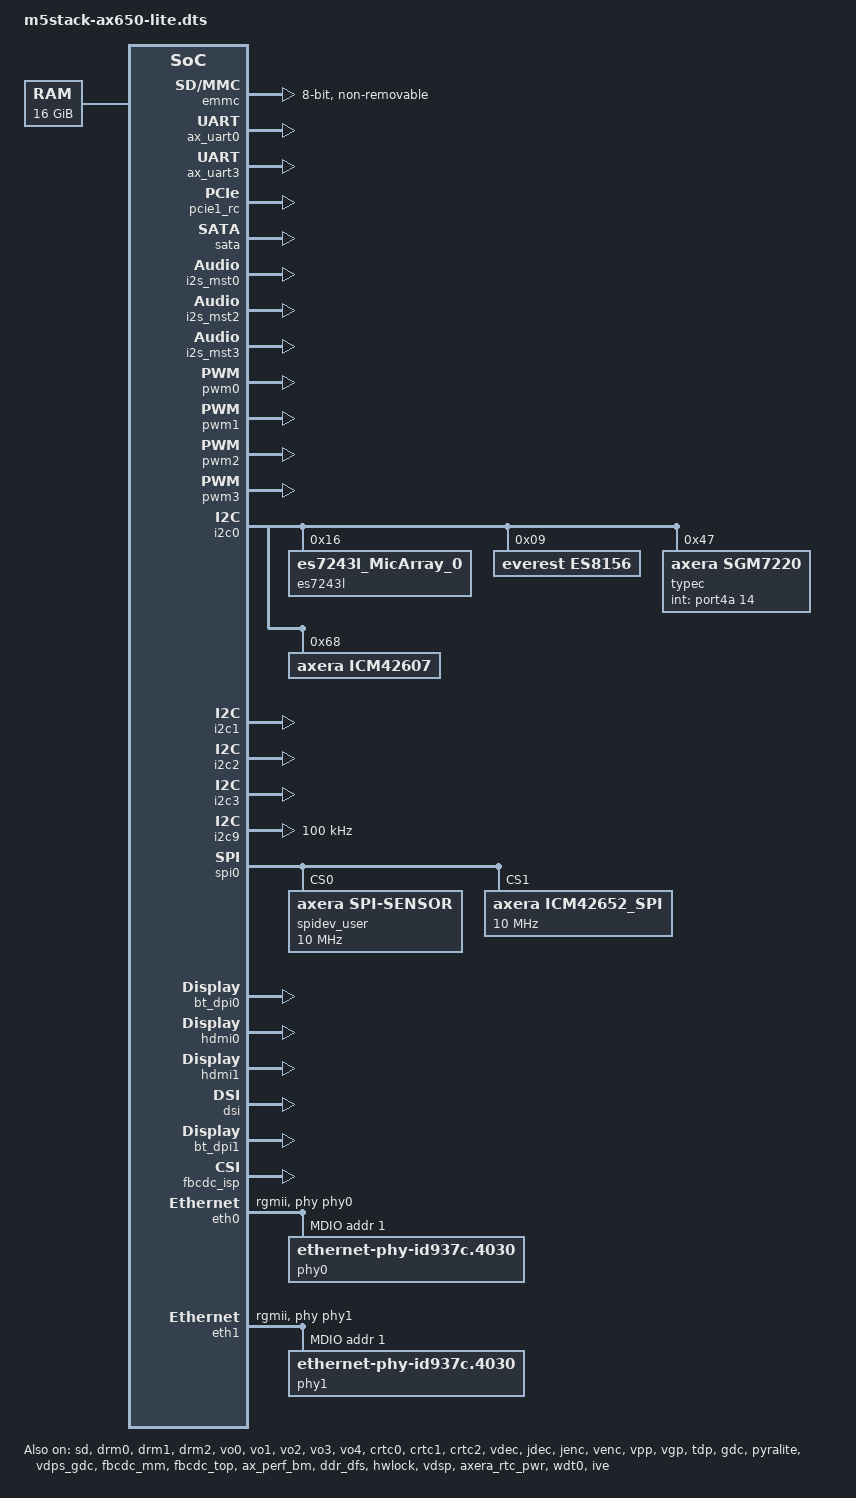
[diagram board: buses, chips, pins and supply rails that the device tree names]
// SPDX-License-Identifier: GPL-2.0
/*
 * dts file for Axera EVB Development Board
 *
 * Copyright (C) 2020, Axera Ltd.
 *
 */

/dts-v1/;
#include "AX650.dtsi"
#include "AX650_pinctrl.dtsi"
#include <dt-bindings/phy/jlsemi-dt-phy.h>
/ {
	memory@100000000 {
		device_type = "memory";
		reg = <0x1 0x00000000 0x4 0x00000000>;
	};
	reserved-memory {
		#address-cells = <2>;
		#size-cells = <2>;
		ranges;
		linux,cma {
			compatible = "shared-dma-pool";
			reusable;
			size = <0x00000000 0x8000000>;
			linux,cma-default;
		};
		axera_memory_dump@0 {
			compatible = "axera_memory_dump";
			reg = <0x1 0x050f0000 0x0 0x3000>;
			fix_addr = <0x7C8D6E02>;
		};
		ramoops_mem@106000000 {
			compatible = "ramoops";
			reg = <0x1 0x06000000 0x0 0xf0000>;
			record-size = <0x40000>;
			console-size = <0x80000>;
			ftrace-size = <0x20000>;
		};
#ifdef OPTEE_BOOT
		optee_reserved: optee_memserved {
			reg = <OPTEE_RESERVED_START_HI OPTEE_RESERVED_START_LO OPTEE_RESERVED_SIZE_HI OPTEE_RESERVED_SIZE_LO>;
			no-map;
		};
#endif
		e907_dram: riscv_memserved {
			reg = <0x01 0x36000000 0x0 0x400000>;
			no-map;
		};
		riscv_log_mem: riscv_log_memserved {
			reg = <0x01 0x36400000 0x0 0x1000>;
			no-map;
		};
		vdsp0_reserved: vdsp0_reserved@13E000000 {
			no-map;
			reg = <0x1 0x3E000000 0x0 0x1000000>;
		};
		vdsp1_reserved: vdsp1_reserved@13F000000 {
			no-map;
			reg = <0x1 0x3F000000 0x0 0x1000000>;
		};
	};

	chosen {
		bootargs = "Please DO NOT config this parameter. Please DO NOT config this parameter. Please DO NOT config this parameter. Please DO NOT config this parameter. Please DO NOT config this parameter. Please DO NOT config this parameter. Please DO NOT config this parameter. Please DO NOT config this parameter. Please config BOOTARGS_EMMC/BOOTARGS_SPINOR/BOOTARGS_SPI in u-boot-2020.04/include/configs/ax650_common.h";
	};

	usb30: dwc3@0x30c00000 {
		compatible = "snps,dwc3";
		status = "okay";
	};

	usb31: dwc3@0x30d00000 {
		compatible = "snps,dwc3";
		status = "okay";
	};

	usb32: dwc3@0x28100000 {
		compatible = "snps,dwc3";
		status = "okay";
	};

	aliases {
		usb0 = &usb30;
		usb1 = &usb31;
		usb2 = &usb32;
	};

	fbcdc_config_val: fbcdc_config_val@0 {
		regs-num = <0x62>;
		regs-val = <0x00000020 0x00000001>,
			   <0x00000024 0x00000001>,
			   <0x00000000 0x00000000>,
			   <0x00000014 0x00000000>,
			   <0x00000048 0x0000001c>,
			   <0x0000024c 0x00000010>,
			   <0x0000004c 0x8000006b>,
			   <0x00000054 0x8000006b>,
			   <0x0000005c 0xc7b8a46b>,
			   <0x00000064 0xc7b8a46b>,
			   <0x0000006c 0x70000004>,
			   <0x00000074 0xc5040f71>,
			   <0x0000007c 0xc7148d60>,
			   <0x00000084 0x60000000>,
			   <0x0000008c 0x20000000>,
			   <0x00000094 0x50000000>,
			   <0x0000009c 0xc5a8207b>,
			   <0x000000a4 0x40000000>,
			   <0x000000ac 0xc7b8a46b>,
			   <0x000000b4 0x70000004>,
			   <0x000000bc 0xb0148d60>,
			   <0x000000c4 0x9000124a>,
			   <0x000000cc 0xb0148d60>,
			   <0x000000d4 0x9000124a>,
			   <0x000000dc 0xb0148d60>,
			   <0x000000e4 0x9000124a>,
			   <0x000000ec 0xb0148d60>,
			   <0x000000f4 0x9000124a>,
			   <0x000000fc 0xb0148d60>,
			   <0x00000104 0x9000124a>,
			   <0x0000010c 0xb0148d60>,
			   <0x00000114 0x9000124a>,
			   <0x0000011c 0xb0148d60>,
			   <0x00000124 0x9000124a>,
			   <0x0000012c 0x10000000>,
			   <0x00000050 0x0625a820>,
			   <0x00000058 0x0625a820>,
			   <0x00000060 0x0625a820>,
			   <0x00000068 0x0625a820>,
			   <0x00000070 0x0e65a820>,
			   <0x00000078 0x48d60c51>,
			   <0x00000080 0xc5181ccb>,
			   <0x00000088 0x10b5040f>,
			   <0x00000090 0x00000249>,
			   <0x00000098 0x01181cd3>,
			   <0x000000a0 0x8a46b062>,
			   <0x000000a8 0x0009c928>,
			   <0x000000b0 0x0628c0e6>,
			   <0x000000b8 0x9285a820>,
			   <0x000000c0 0xc5181cd3>,
			   <0x000000c8 0x16a081ee>,
			   <0x000000d0 0xc5181cd3>,
			   <0x000000d8 0x16a081ee>,
			   <0x000000e0 0xc5181cd3>,
			   <0x000000e8 0x16a081ee>,
			   <0x000000f0 0xc5181cd3>,
			   <0x000000f8 0x16a081ee>,
			   <0x00000100 0xc5181cd3>,
			   <0x00000108 0x16a081ee>,
			   <0x00000110 0xc5181cd3>,
			   <0x00000118 0x16a081ee>,
			   <0x00000120 0xc5181cd3>,
			   <0x00000128 0x16a081ee>,
			   <0x00000130 0x00000013>,
			   <0x00000250 0x40000000>,
			   <0x00000258 0x40000000>,
			   <0x00000260 0x60000000>,
			   <0x00000268 0x60000000>,
			   <0x00000270 0x80000029>,
			   <0x00000278 0x80000029>,
			   <0x00000280 0x30000000>,
			   <0x00000288 0x90000101>,
			   <0x00000290 0xa0002029>,
			   <0x00000298 0xa0002029>,
			   <0x000002a0 0xa0002029>,
			   <0x000002a8 0xa0002029>,
			   <0x000002b0 0xa0002029>,
			   <0x000002b8 0xa0002029>,
			   <0x000002c0 0xa0002029>,
			   <0x000002c8 0xa0002029>,
			   <0x000002d0 0x20000000>,
			   <0x00000254 0x00018820>,
			   <0x0000025c 0x00018820>,
			   <0x00000264 0x0a418820>,
			   <0x0000026c 0x0a418820>,
			   <0x00000274 0x06239820>,
			   <0x0000027c 0x06239820>,
			   <0x00000284 0x00002020>,
			   <0x0000028c 0x48311cc9>,
			   <0x00000294 0x06239928>,
			   <0x0000029c 0x06239928>,
			   <0x000002a4 0x06239928>,
			   <0x000002ac 0x06239928>,
			   <0x000002b4 0x06239928>,
			   <0x000002bc 0x06239928>,
			   <0x000002c4 0x06239928>,
			   <0x000002cc 0x06239928>,
			   <0x000002d4 0x00000128>;
	};

	fbcdc_config_val_top: fbcdc_config_val_top@0 {
		regs-num = <0x62>;
		regs-val = <0x00000020 0x00000001>,
			   <0x00000024 0x00000001>,
			   <0x00000000 0x00000001>, /* reverse fbc bypass enable signal of top module */
			   <0x00000014 0x00000001>, /* reverse fbdc bypass enable signal of top module */
			   <0x00000048 0x0000001c>,
			   <0x0000024c 0x00000010>,
			   <0x0000004c 0x8000006b>,
			   <0x00000054 0x8000006b>,
			   <0x0000005c 0xc7b8a46b>,
			   <0x00000064 0xc7b8a46b>,
			   <0x0000006c 0x70000004>,
			   <0x00000074 0xc5040f71>,
			   <0x0000007c 0xc7148d60>,
			   <0x00000084 0x60000000>,
			   <0x0000008c 0x20000000>,
			   <0x00000094 0x50000000>,
			   <0x0000009c 0xc5a8207b>,
			   <0x000000a4 0x40000000>,
			   <0x000000ac 0xc7b8a46b>,
			   <0x000000b4 0x70000004>,
			   <0x000000bc 0xb0148d60>,
			   <0x000000c4 0x9000124a>,
			   <0x000000cc 0xb0148d60>,
			   <0x000000d4 0x9000124a>,
			   <0x000000dc 0xb0148d60>,
			   <0x000000e4 0x9000124a>,
			   <0x000000ec 0xb0148d60>,
			   <0x000000f4 0x9000124a>,
			   <0x000000fc 0xb0148d60>,
			   <0x00000104 0x9000124a>,
			   <0x0000010c 0xb0148d60>,
			   <0x00000114 0x9000124a>,
			   <0x0000011c 0xb0148d60>,
			   <0x00000124 0x9000124a>,
			   <0x0000012c 0x10000000>,
			   <0x00000050 0x0625a820>,
			   <0x00000058 0x0625a820>,
			   <0x00000060 0x0625a820>,
			   <0x00000068 0x0625a820>,
			   <0x00000070 0x0e65a820>,
			   <0x00000078 0x48d60c51>,
			   <0x00000080 0xc5181ccb>,
			   <0x00000088 0x10b5040f>,
			   <0x00000090 0x00000249>,
			   <0x00000098 0x01181cd3>,
			   <0x000000a0 0x8a46b062>,
			   <0x000000a8 0x0009c928>,
			   <0x000000b0 0x0628c0e6>,
			   <0x000000b8 0x9285a820>,
			   <0x000000c0 0xc5181cd3>,
			   <0x000000c8 0x16a081ee>,
			   <0x000000d0 0xc5181cd3>,
			   <0x000000d8 0x16a081ee>,
			   <0x000000e0 0xc5181cd3>,
			   <0x000000e8 0x16a081ee>,
			   <0x000000f0 0xc5181cd3>,
			   <0x000000f8 0x16a081ee>,
			   <0x00000100 0xc5181cd3>,
			   <0x00000108 0x16a081ee>,
			   <0x00000110 0xc5181cd3>,
			   <0x00000118 0x16a081ee>,
			   <0x00000120 0xc5181cd3>,
			   <0x00000128 0x16a081ee>,
			   <0x00000130 0x00000013>,
			   <0x00000250 0x40000000>,
			   <0x00000258 0x40000000>,
			   <0x00000260 0x60000000>,
			   <0x00000268 0x60000000>,
			   <0x00000270 0x80000029>,
			   <0x00000278 0x80000029>,
			   <0x00000280 0x30000000>,
			   <0x00000288 0x90000101>,
			   <0x00000290 0xa0002029>,
			   <0x00000298 0xa0002029>,
			   <0x000002a0 0xa0002029>,
			   <0x000002a8 0xa0002029>,
			   <0x000002b0 0xa0002029>,
			   <0x000002b8 0xa0002029>,
			   <0x000002c0 0xa0002029>,
			   <0x000002c8 0xa0002029>,
			   <0x000002d0 0x20000000>,
			   <0x00000254 0x00018820>,
			   <0x0000025c 0x00018820>,
			   <0x00000264 0x0a418820>,
			   <0x0000026c 0x0a418820>,
			   <0x00000274 0x06239820>,
			   <0x0000027c 0x06239820>,
			   <0x00000284 0x00002020>,
			   <0x0000028c 0x48311cc9>,
			   <0x00000294 0x06239928>,
			   <0x0000029c 0x06239928>,
			   <0x000002a4 0x06239928>,
			   <0x000002ac 0x06239928>,
			   <0x000002b4 0x06239928>,
			   <0x000002bc 0x06239928>,
			   <0x000002c4 0x06239928>,
			   <0x000002cc 0x06239928>,
			   <0x000002d4 0x00000128>;
	};

	aliases {
		pcie0 = &pcie0_ep;
		pcie1 = &pcie1_rc;

		ethernet0 = &eth0;
		ethernet1 = &eth1;
	};

	sound {
		status = "okay";
		compatible = "simple-audio-card";
		simple-audio-card,name = "Axera Audio";
		simple-audio-card,widgets =
			"Microphone", "Mic Jack",
			"Headphone", "Headphone Jack";
		simple-audio-card,routing =
			"Headphone Jack", "LOUT",
			"Headphone Jack", "ROUT",
			"INPUT", "Mic Jack";
		#address-cells = <1>;
		#size-cells = <0>;
		simple-audio-card,dai-link@0 {
			format = "i2s";
			cpu {
				sound-dai = <&i2s_mst2>;
			};
			codec {
				sound-dai = <&hdmi0>;
			};
		};
		simple-audio-card,dai-link@1 {
			format = "i2s";
			cpu {
				sound-dai = <&i2s_mst3>;
			};
			codec {
				sound-dai = <&hdmi1>;
			};
		};
		simple-audio-card,dai-link@2 {
			format = "i2s";
			cpu {
				sound-dai = <&i2s_mst0>;
			};
			codec {
				sound-dai = <&es7243l>;
				system-clock-frequency = <12288000>;
			};
		};
		simple-audio-card,dai-link@3 {
			format = "i2s";
			cpu {
				sound-dai = <&i2s_mst0>;
			};
			codec {
				sound-dai = <&es8156>;
				system-clock-frequency = <12288000>;
			};
		};
	};

	vfb0: vfb@0 {
		compatible = "axera,vfb";
		id = <0>;
		width = <4096>;
		height = <2160>;
		bpp = <32>;
		buf-num = <2>;
		status = "okay";
	};

	vfb1: vfb@1 {
		compatible = "axera,vfb";
		id = <1>;
		width = <1920>;
		height = <1080>;
		bpp = <32>;
		buf-num = <2>;
		status = "okay";
	};

	vfb2: vfb@2 {
		compatible = "axera,vfb";
		id = <2>;
		width = <4096>;
		height = <2160>;
		bpp = <32>;
		buf-num = <2>;
		status = "okay";
	};

	vfb3: vfb@3 {
		compatible = "axera,vfb";
		id = <3>;
		width = <64>;
		height = <64>;
		bpp = <32>;
		buf-num = <1>;
		cursor;
		status = "okay";
	};

	vfb4: vfb@4 {
		compatible = "axera,vfb";
		id = <4>;
		width = <1920>;
		height = <1080>;
		bpp = <32>;
		buf-num = <2>;
		status = "okay";
	};

	vfb5: vfb@5 {
		compatible = "axera,vfb";
		id = <5>;
		width = <4096>;
		height = <2160>;
		bpp = <32>;
		buf-num = <2>;
		status = "okay";
	};

	vfb6: vfb@6 {
		compatible = "axera,vfb";
		id = <6>;
		width = <1920>;
		height = <1080>;
		bpp = <32>;
		buf-num = <2>;
		status = "okay";
	};

	vfb7: vfb@7 {
		compatible = "axera,vfb";
		id = <7>;
		width = <64>;
		height = <64>;
		bpp = <32>;
		buf-num = <1>;
		cursor;
		status = "okay";
	};

	axera_logctl {
		compatible = "axera,logctl";
		config = "/etc/ax_syslog.conf";
		logstate = /bits/ 8 <1 1>;
		loglevel = /bits/ 8 <4 4>;
	};
};

&emmc {
	sdhci-caps-mask = <0x2 0x03200000>;
	//sdhci-caps = <0x01000000>;//SDHCI_CAN_VDD_330
	bus-width = <8>;
	max-frequency = <200000000>;
	cap-mmc-hw-reset;
	cap-mmc-highspeed;
	mmc-hs200-1_8v;
	mmc-hs400-1_8v;
	mmc-hs400-enhanced-strobe;
	no-sdio;
	no-sd;
	non-removable;
	disable-wp;
	axera,phy-cnfg = <0x00CC0000>;
	axera,phy-cmdpad-cnfg = <0x0449>;
	axera,phy-datapad-cnfg = <0x0449>;
	axera,phy-clkpad-cnfg = <0x0440>;
	axera,phy-stbpad-cnfg = <0x0451>;
	axera,phy-rstnpad-cnfg = <0x0449>;
	axera,phy-commdl-cnfg = <0x0>;
	axera,phy-sdclkdl-cnfg = <0x1>;
	axera,phy-sdclkdl-dc = <0x7F>;
	axera,phy-smpldl-cnfg = <0xC>;
	axera,phy-atdl-cnfg = <0xC>;
	status = "okay";
};

&sd {
	sdhci-caps-mask = <0x7 0x00200000>;
	bus-width = <4>;
	max-frequency = <200000000>;
	cap-sd-highspeed;
	sd-uhs-sdr12;
	sd-uhs-sdr25;
	sd-uhs-sdr50;
	sd-uhs-ddr50;
	sd-uhs-sdr104;
	no-sdio;
	no-mmc;
	disable-wp;
	axera,swt1v8-drv-str = <0xCC>;
	axera,phy-cnfg = <0x00CD0000>;
	axera,phy-cmdpad-cnfg = <0x044A>;
	axera,phy-datapad-cnfg = <0x044A>;
	axera,phy-clkpad-cnfg = <0x0440>;
	axera,phy-stbpad-cnfg = <0x0452>;
	axera,phy-rstnpad-cnfg = <0x0440>;
	axera,phy-commdl-cnfg = <0x0>;
	axera,phy-sdclkdl-cnfg = <0x1>;
	axera,phy-sdclkdl-dc = <0x7F>;
	axera,phy-smpldl-cnfg = <0xC>;
	axera,phy-atdl-cnfg = <0xC>;
	status = "okay";
};

&sdio {
	sdhci-caps-mask = <0x7 0x00200000>;
	bus-width = <4>;
	max-frequency = <200000000>;
	cap-mmc-hw-reset;
	cap-sd-highspeed;
	sd-uhs-sdr25;
	sd-uhs-sdr12;
	sd-uhs-sdr50;
	sd-uhs-sdr104;
	no-1-8-v;
	no-sd;
	no-mmc;
	disable-wp;
	axera,swt1v8-drv-str = <0xCC>;
	axera,phy-cnfg = <0x00CD0000>;
	axera,phy-cmdpad-cnfg = <0x044A>;
	axera,phy-datapad-cnfg = <0x044A>;
	axera,phy-clkpad-cnfg = <0x0440>;
	axera,phy-stbpad-cnfg = <0x0452>;
	axera,phy-rstnpad-cnfg = <0x0440>;
	axera,phy-commdl-cnfg = <0x0>;
	axera,phy-sdclkdl-cnfg = <0x1>;
	axera,phy-sdclkdl-dc = <0x7F>;
	axera,phy-smpldl-cnfg = <0xC>;
	axera,phy-atdl-cnfg = <0xC>;
	status = "disabled";
};

&ax_uart0 {
	status = "okay";
};

&ax_uart1 {
	dmas = <&dmac 42 &dmac 43>;
	dma-names = "tx", "rx";
	status = "disabled";
};

&ax_uart3 {
	// dmas = <&dmac 42 &dmac 43>;
	// dma-names = "tx", "rx";
	status = "okay";
};

&pcie0_rc {
    status = "disabled";
};

&pcie0_ep {
    status = "okay";
};

&pcie1_rc {
    status = "okay";
};

&pcie1_ep {
    status = "disabled";
};

&sata {
    ports-implemented = <0xf>;
    status = "okay";
};

&spif {
	status = "disabled";
	spi_nand@0 {
		compatible = "spi-nand";
		reg = <0>;
		spi-max-frequency = <1000000>;
	};
	/*spi_flash@0 {
		#address-cells = <1>;
		#size-cells = <1>;
		compatible = "jedec,spi-nor";
		reg = <0>;
		spi-max-frequency = <50000000>;
	};*/
};

&i2s_mst0 {
	status = "okay";
	reg = <0x0 0x2033000 0x0 0x800>,
		<0x0 0x4251A00 0x0 0x200>,
		<0x0 0x4250200 0x0 0x200>;
	i2s-m0-sel = <0>;
	i2s-m1-sel = <0>;
	i2s-s0-sel = <0>;
	i2s-s1-sel = <0>;
	tdm-m0-sel = <0>;
	tdm-m1-sel = <0>;
	tdm-s0-sel = <0>;
	tdm-s1-sel = <0>;
	iis0-func-sel = <0>;
	iis1-func-sel = <0>;
	iis2-func-sel = <0>;
	iis3-func-sel = <0>;
};

&i2s_mst2 {
	status = "okay";
};

&i2s_mst3 {
	status = "okay";
};

&pwm0 {
	status = "okay";
};

&pwm1 {
	status = "okay";
};

&pwm2 {
	status = "okay";
};

&pwm3 {
	status = "okay";
};

&i2c0 {
	status = "okay";
	#address-cells = <0x1>;
	#size-cells = <0x0>;
	scl-gpio = <&port4a 19 0>;
	sda-gpio = <&port4a 20 0>;
	pinctrl-names = "default", "gpio";
	pinctrl-0 = <&i2c0_scl_m_pins>, <&i2c0_sda_m_pins>;
	pinctrl-1 = <&gpio4_a19_pins>, <&gpio4_a20_pins>;

	es7243l: es7243l@16 {
		compatible = "es7243l_MicArray_0";
		reg = <0x16>;
		#sound-dai-cells = <0>;
	};
	es8156: es8156@9 {
		compatible = "everest,es8156";
		reg = <0x9>;
		#sound-dai-cells = <0>;
	};

	typec: sgm7220@47 {
		compatible = "axera,sgm7220";
		reg = <0x47>;
		int-gpio = <&port4a 14 0>;
		chanel-sel = <&port4a 11 0>;
		bind-usb = "30c00000.dwc3";
		status = "okay";
	};

	tp2912: tp2912@45 {
		compatible = "axera,tp2912";
		reg = <0x45>;
		reset-gpio = <&port2a 1 0>;
		status = "disabled";
	};

	icm42607: icm42607@68 {
		compatible = "axera,icm42607";
		reg = <0x68>;
	};
	at8563: at8563@51 {
		compatible = "analogtek,at8563";
		reg = <0x51>;
		status = "disabled";
	};

};

&i2c1 {
	status = "okay";
	scl-gpio = <&port2a 23 0>;
	sda-gpio = <&port2a 24 0>;
	pinctrl-names = "default", "gpio";
	pinctrl-0 = <&i2c1_scl_pins>, <&i2c1_sda_pins>;
	pinctrl-1 = <&gpio2_a23_pins>, <&gpio2_a24_pins>;
};

&i2c2 {
	status = "okay";
	scl-gpio = <&port2a 25 0>;
	sda-gpio = <&port2a 26 0>;
	pinctrl-names = "default", "gpio";
	pinctrl-0 = <&i2c2_scl_pins>, <&i2c2_sda_pins>;
	pinctrl-1 = <&gpio2_a25_pins>, <&gpio2_a26_pins>;
};

&i2c3 {
	status = "okay";
	scl-gpio = <&port2a 27 0>;
	sda-gpio = <&port2a 28 0>;
	pinctrl-names = "default", "gpio";
	pinctrl-0 = <&i2c3_scl_pins>, <&i2c3_sda_pins>;
	pinctrl-1 = <&gpio2_a27_pins>, <&gpio2_a28_pins>;
};

&i2c9 {
	status = "okay";
	clock-frequency = <100000>;
	i2c-sda-hold-time-ns = <2000>;
	i2c-scl-falling-time-ns = <300>;
	i2c-sda-falling-time-ns = <1000>;
	#address-cells = <0x1>;
	#size-cells = <0x0>;
	scl-gpio = <&port2a 3 0>;
	sda-gpio = <&port2a 4 0>;
	pinctrl-names = "default", "gpio";
	pinctrl-0 = <&i2c9_scl_pins>, <&i2c9_sda_pins>;
	pinctrl-1 = <&gpio2_a3_pins>, <&gpio2_a4_pins>;
};

&spi0 {
	status = "okay";
	rx-sample-delay-ns = <40>;
	spidev_user@0 {
		status = "okay";
		compatible = "axera,spi-sensor";
		reg = <0>;
		spi-max-frequency = <10000000>;
	};
	icm42652_spi: icm42652_spi@1 {
		compatible = "axera,icm42652_spi";
		spi-max-frequency = <10000000>;
		reg = <1>;    /*SPI channel 0*/
	};
};

&drm0 {
	status = "okay";
};

&drm1 {
	status = "okay";
};

&drm2 {
	status = "okay";
};

&vo0 {
	status = "okay";
};

&vo1 {
	status = "okay";
};

&vo2 {
	status = "okay";
};

&vo3 {
	status = "okay";
};

&vo4 {
	status = "okay";
};

&crtc0 {
	status = "okay";
};

&crtc1 {
	status = "okay";
};

&crtc2 {
	status = "okay";
};

&bt_dpi0 {
	bt-8bit-low;

	status = "okay";
};

&hdmi0 {
	status = "okay";
};

&hdmi1 {
	status = "okay";
};

&dsi {
	status = "okay";
};

&bt_dpi1 {
	bt-8bit-low;

	status = "okay";
};

&vdec {
	status = "okay";
};

&jdec {
	status = "okay";
};

&jenc {
	status = "okay";
};

&venc {
	status = "okay";
};

&vpp {
	status = "okay";
};

&vgp {
	status = "okay";
};

&tdp {
	status = "okay";
};

&gdc {
	status = "okay";
};

&pyralite {
	status = "okay";
};

&vdps_gdc {
	status = "okay";
};

&fbcdc_isp {
	regs-param = <&fbcdc_config_val>;
	status = "okay";
};

&fbcdc_mm {
	regs-param = <&fbcdc_config_val>;
	status = "okay";
};

&fbcdc_top {
	regs-param = <&fbcdc_config_val_top>;
	status = "okay";
};

&panel_dsi {
	status = "okay";
	prepare-delay-ms = <0>;
	unprepare-delay-ms = <0>;
	enable-delay-ms = <0>;
	disable-delay-ms = <0>;
	reset-low-delay-ms = <20>;
	reset-high-delay-ms = <100>;
	reset-gpio = <&port0a 23 0>; /* GPIO0_A23 */
	dsi,format = <MIPI_DSI_FMT_RGB888>;
	dsi,lanes = <4>;
	dsi,flags = <(MIPI_DSI_MODE_VIDEO_SYNC_PULSE | MIPI_DSI_MODE_VIDEO | MIPI_DSI_MODE_LPM)>;
	panel-init-seq = [39 00 04 B9 FF 83 99
                          39 00 10 B1 02 04 6B 8B 01 32 33 11 11 53 01 56 73 02 02
                          39 00 0c B2 00 80 80 AE 05 07 5A 11 00 10 10
                          39 00 2d B4 00 FF 00 AC 00 9C 00 00 08 00 00 02 00 26 02 07 09 21 03 00 00 04 A4 88 00 AC 00 9C 00 00 08 00 00 02 00 24 02 07 09 00 00 04 A4 12
                          39 05 22 D3 00 00 00 00 00 00 00 00 32 10 05 00 05 00 00 00 00 00 00 00 00 00 00 01 00 07 07 03 00 00 00 05 40
                          39 05 21 D5 00 00 00 01 02 03 00 00 00 00 19 00 18 00 20 21 00 18 00 00 00 00 00 00 00 00 31 31 30 30 2F 2F
                          39 05 21 D6 40 40 03 02 01 00 40 40 40 40 18 40 19 40 21 20 40 18 40 40 40 40 40 40 40 40 31 31 30 30 2F 2F
                          39 00 11 D8 28 02 00 2A 28 02 C0 2A 00 00 00 00 00 00 00 00
                          15 00 02 BD 01
                          39 00 11 D8 00 00 00 00 00 00 00 00 28 2A 00 2A 28 02 C0 2A
                          15 00 02 BD 02
                          39 00 09 D8 28 2A 00 2A 28 02 C0 2A
                          15 00 02 BD 00
                          39 00 03 B6 8D 8D
                          39 00 37 E0 01 49 4F 45 87 8A 8F 84 88 8D 91 94 97 9B A1 A2 A4 AA AB B0 A2 AF AF 59 54 5E 6D 01 49 4F 45 87 8A 8F 84 88 8D 91 94 97 9B A1 A2 A4 AA AB B0 A2 AF AF 59 54 5E 6D
                          15 00 02 D2 33
                          39 00 03 B6 7D 7D
                          39 00 08 BF 40 41 50 09 1A 80 CD
                          15 00 02 CC 08
                          15 05 02 36 00
                          05 00 01 35
                          05 00 01 29
                          05 FF 01 00
                          05 00 01 11
                          05 FF 01 00];
	panel-exit-seq = [05 00 01 00];

	display-timings {

		timing0 {
			/* 1080x1920@60 */
			clock-frequency = <148500000>;
			hactive = <1080>;
			vactive = <1920>;
			hfront-porch = <20>;
			hsync-len = <70>;
			hback-porch = <30>;
			vfront-porch = <50>;
			vsync-len = <50>;
			vback-porch = <42>;
			hsync-active = <0>;
			vsync-active = <0>;
			de-active = <0>;
		};
	};
};

&panel0 {
	status = "okay";
	/*reset-gpio = <&port2a 1 0>;*/

	display-timings {

		timing0 {
			/* 720x480@60 */
			clock-frequency = <27000000>;
			hactive = <720>;
			hfront-porch = <19>;
			hsync-len = <62>;
			hback-porch = <57>;
			vactive = <480>;
			vfront-porch = <9>;
			vsync-len = <6>;
			vback-porch = <30>;
			hsync-active = <1>;
			vsync-active = <1>;
			de-active = <1>;
		};

		timing1 {
			/* 720x480@60I */
			clock-frequency = <27000000>;
			hactive = <720>;
			hfront-porch = <19>;
			hsync-len = <62>;
			hback-porch = <57>;
			vactive = <480>;
			vfront-porch = <9>;
			vsync-len = <6>;
			vback-porch = <30>;
			hsync-active = <1>;
			vsync-active = <1>;
			de-active = <1>;
			interlaced;
		};

		timing2 {
			/* 720x576@50 */
			clock-frequency = <27000000>;
			hactive = <720>;
			hfront-porch = <22>;
			hsync-len = <62>;
			hback-porch = <60>;
			vactive = <576>;
			vfront-porch = <20>;//<13>;
			vsync-len = <15>;//<6>;
			vback-porch = <14>;//<30>;
			hsync-active = <0>;
			vsync-active = <0>;
			de-active = <1>;
		};

		timing3 {
			/* 800x480@60 */
			clock-frequency = <29232000>;
			hactive = <800>;
			hfront-porch = <40>;
			hsync-len = <48>;
			hback-porch = <40>;
			vactive = <480>;
			vfront-porch = <13>;
			vsync-len = <3>;
			vback-porch = <29>;
			/* hs vs setting is invert. */
			hsync-active = <1>;
			vsync-active = <1>;
			de-active = <1>;
		};

		timing4 {
			/* 1280x720@50 */
			clock-frequency = <74250000>;
			hactive = <1280>;
			hfront-porch = <200>;
			hsync-len = <300>;
			hback-porch = <200>;
			vactive = <720>;
			vfront-porch = <12>;
			vsync-len = <8>;
			vback-porch = <10>;
			hsync-active = <0>;
			vsync-active = <0>;
			de-active = <1>;
		};

		timing5 {
			/* 1920x1080@25 */
			clock-frequency = <74250000>;
			hactive = <1920>;
			hfront-porch = <2>;
			hsync-len = <716>;
			hback-porch = <2>;
			vactive = <1080>;
			vfront-porch = <2>;
			vsync-len = <35>;
			vback-porch = <8>;
			hsync-active = <0>;
			vsync-active = <0>;
			de-active = <0>;
		};

		timing6 {
			/* 1920x1080@30 */
			clock-frequency = <74250000>;
			hactive = <1920>;
			hfront-porch = <12>;
			hsync-len = <236>;
			hback-porch = <32>;
			vactive = <1080>;
			vfront-porch = <24>;
			vsync-len = <5>;
			vback-porch = <16>;
			hsync-active = <0>;
			vsync-active = <0>;
			de-active = <0>;
		};

		timing7 {
			/* 1920x1080@60 */
			clock-frequency = <148500000>;
			hactive = <1920>;
			hfront-porch = <88>;
			hsync-len = <44>;
			hback-porch = <148>;
			vactive = <1080>;
			vfront-porch = <4>;
			vsync-len = <5>;
			vback-porch = <36>;
			hsync-active = <0>;
			vsync-active = <0>;
			de-active = <0>;
		};

		timing8 {
			/* 1280x720@30 */
			clock-frequency = <37125000>;
			hactive = <1280>;
			hfront-porch = <350>;
			hsync-len = <10>;
			hback-porch = <10>;
			vactive = <720>;
			vfront-porch = <2>;
			vsync-len = <25>;
			vback-porch = <3>;
			hsync-active = <0>;
			vsync-active = <0>;
			de-active = <0>;
		};

		timing9 {
			/* 640x480@60 */
			clock-frequency = <27000000>;
			hactive = <640>;
			hfront-porch = <96>;
			hsync-len = <62>;
			hback-porch = <60>;
			vactive = <480>;
			vfront-porch = <10>;
			vsync-len = <12>;
			vback-porch = <23>;
			hsync-active = <0>;
			vsync-active = <0>;
			de-active = <1>;
		};
	};
};

&panel1 {
	status = "okay";

	display-timings {

		timing0 {
			/* 720x480@60 */
			clock-frequency = <27000000>;
			hactive = <720>;
			vactive = <480>;
			hfront-porch = <19>;
			hsync-len = <62>;
			hback-porch = <57>;
			vfront-porch = <9>;
			vsync-len = <6>;
			vback-porch = <30>;
			hsync-active = <1>;
			vsync-active = <1>;
			de-active = <1>;
		};
		timing1 {
			/* 800x480@60 */
			clock-frequency = <29232000>;
			hactive = <800>;
			hfront-porch = <40>;
			hsync-len = <48>;
			hback-porch = <40>;
			vactive = <480>;
			vfront-porch = <13>;
			vsync-len = <3>;
			vback-porch = <29>;
			hsync-active = <0>;
			vsync-active = <0>;
			de-active = <1>;
		};
		timing2 {
			/* 720x480@60 */
			clock-frequency = <27000000>;
			hactive = <720>;
			vactive = <480>;
			hfront-porch = <19>;
			hsync-len = <62>;
			hback-porch = <57>;
			vfront-porch = <9>;
			vsync-len = <6>;
			vback-porch = <30>;
			hsync-active = <1>;
			vsync-active = <1>;
			de-active = <1>;
			interlaced;
		};
	};
};

&ax_perf_bm {
       status = "okay";
};

&ddr_dfs {
       status = "okay";
};

&hwlock {
       status = "okay";
};

&vdsp {
	memory-region = <&vdsp0_reserved>, <&vdsp1_reserved>;
	status = "okay";
};

&eth0 {
	status = "okay";

	phy-handle = <&phy0>;
	phy-mode = "rgmii";

	mdio {
		#address-cells = <1>;
		#size-cells = <0>;
		compatible = "snps,dwmac-mdio";
		phy0: jl2xxx-phy@1 {
			compatible = "ethernet-phy-id937c.4030";
			jl2xxx,led-enable = <JL2XXX_LED_CTRL_EN>;
			jl2xxx,led-mode = <JL2XXX_CFG_LED_MODE>;
			jl2xxx,led-period = <JL2XXX_GLOBAL_PERIOD_MS>;
			jl2xxx,led-on = <JL2XXX_GLOBAL_ON_MS>;
			jl2xxx,led-polarity = <JL2XXX_LED_POLARITY>;
			jl2xxx,patch-enable = <JL2XXX_PATCH_CTRL_EN>;
			jl2xxx,rgmii-enable = <JL2XXX_RGMII_CTRL_EN>;
			jl2xxx,rgmii-tx-delay = <JL2XXX_RGMII_TX_DLY_2NS>;
			jl2xxx,rgmii-rx-delay = <JL2XXX_RGMII_RX_DLY_2NS>;
			jl2xxx,clk-enable = <JL2XXX_CLK_CTRL_EN>;
			jl2xxx,fld-enable = <JL2XXX_FLD_CTRL_EN>;
			jl2xxx,fld-delay = <JL2XXX_FLD_DELAY>;
			jl2xxx,wol-enable = <JL2XXX_WOL_CTRL_EN>;
			jl2xxx,interrupt-enable = <JL2XXX_INTR_CTRL_EN>;
			jl2xxx,downshift-enable = <JL2XXX_DSFT_CTRL_EN>;
			jl2xxx,downshift-count = <JL2XXX_DSFT_AN_CNT>;
			jl2xxx,work_mode-enable = <JL2XXX_WORK_MODE_CTRL_EN>;
			jl2xxx,work_mode-mode = <JL2XXX_WOEK_MODE_MODE>;
			jl2xxx,lpbk-enable = <JL2XXX_LPBK_CTRL_EN>;
			jl2xxx,lpbk-mode = <JL2XXX_LPBK_MODE>;
			jl2xxx,slew_rate-enable = <JL2XXX_SLEW_RATE_CTRL_EN>;
			jl2xxx,rxc_out-enable = <JL2XXX_RXC_OUT_CTRL_EN>;
			reg = <1>;
		};
	};
};

&eth1 {
	status = "okay";

	phy-handle = <&phy1>;
	phy-mode = "rgmii";

	mdio {
		#address-cells = <1>;
		#size-cells = <0>;
		compatible = "snps,dwmac-mdio";
		phy1: jl2xxx-phy@1 {
			compatible = "ethernet-phy-id937c.4030";
			jl2xxx,led-enable = <JL2XXX_LED_CTRL_EN>;
			jl2xxx,led-mode = <JL2XXX_CFG_LED_MODE>;
			jl2xxx,led-period = <JL2XXX_GLOBAL_PERIOD_MS>;
			jl2xxx,led-on = <JL2XXX_GLOBAL_ON_MS>;
			jl2xxx,led-polarity = <JL2XXX_LED_POLARITY>;
			jl2xxx,patch-enable = <JL2XXX_PATCH_CTRL_EN>;
			jl2xxx,rgmii-enable = <JL2XXX_RGMII_CTRL_EN>;
			jl2xxx,rgmii-tx-delay = <JL2XXX_RGMII_TX_DLY_2NS>;
			jl2xxx,rgmii-rx-delay = <JL2XXX_RGMII_RX_DLY_2NS>;
			jl2xxx,clk-enable = <JL2XXX_CLK_CTRL_EN>;
			jl2xxx,fld-enable = <JL2XXX_FLD_CTRL_EN>;
			jl2xxx,fld-delay = <JL2XXX_FLD_DELAY>;
			jl2xxx,wol-enable = <JL2XXX_WOL_CTRL_EN>;
			jl2xxx,interrupt-enable = <JL2XXX_INTR_CTRL_EN>;
			jl2xxx,downshift-enable = <JL2XXX_DSFT_CTRL_EN>;
			jl2xxx,downshift-count = <JL2XXX_DSFT_AN_CNT>;
			jl2xxx,work_mode-enable = <JL2XXX_WORK_MODE_CTRL_EN>;
			jl2xxx,work_mode-mode = <JL2XXX_WOEK_MODE_MODE>;
			jl2xxx,lpbk-enable = <JL2XXX_LPBK_CTRL_EN>;
			jl2xxx,lpbk-mode = <JL2XXX_LPBK_MODE>;
			jl2xxx,slew_rate-enable = <JL2XXX_SLEW_RATE_CTRL_EN>;
			jl2xxx,rxc_out-enable = <JL2XXX_RXC_OUT_CTRL_EN>;
			reg = <1>;
		};
	};
};

&dmac {
	status = "okay";
};

&dmaxor {
	status = "okay";
};

&dmaxor_dev {
	status = "okay";
};

&dmadim {
	status = "okay";
};

&axera_rtc_pwr {
        status = "okay";
};

&wdt0 {
	status = "okay";
};


&ive {
	status = "okay";
};

&timer1 {
	status = "disabled";
};

&timer2 {
	status = "disabled";
};

&timer3 {
	status = "disabled";
};

&timer4 {
	status = "disabled";
};

&timer5 {
	status = "disabled";
};
